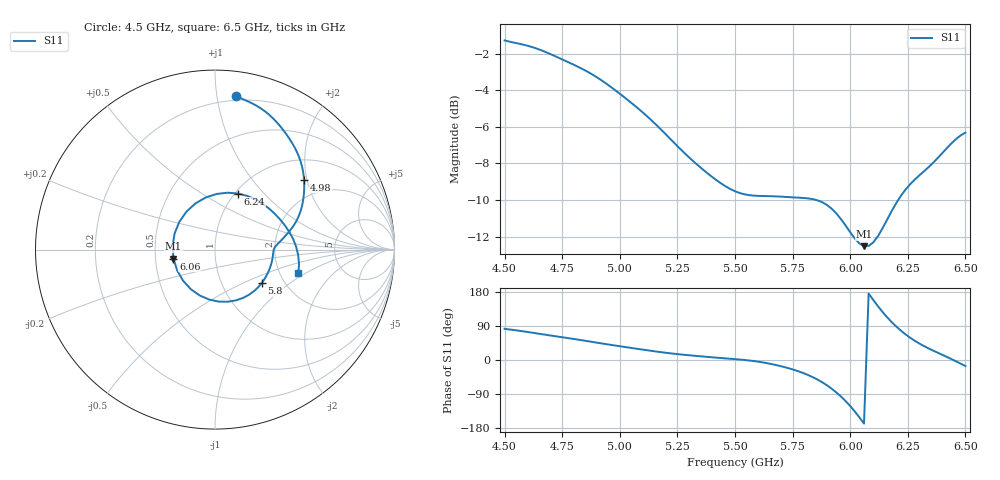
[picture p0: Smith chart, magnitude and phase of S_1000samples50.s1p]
! TOUCHSTONE file generated by CST MICROWAVE STUDIO
! Date and time: Wed Oct 26 19:57:11 2022
! Project name: L.cst
! Parameters = {Di=1.27; Epsilon_r=1.56; InnerDiameter=1.27; Length=2; Lf=10; Lg=60; OuterConductorThickness=0.2921; OuterDiameter=3.6; Wf=3; Wp=41.2; de=1.5; df=6.8; g=0.8; gx=1.2209; gy=3.4054; h=2.34; hf=1.524; px=11.6551; py=11.9087; w=9.7; wx=10.4342; wy=8.50332}
! Header version: 2018
! Port assignment regex: !\s*Touchstone port\s*([0-9]+)\s*=\s*(CST MWS port|CST DS port)\s*([0-9]+|Zmin|Zmax)\s*\(\"(.*)\"\)(\s*mode\s*([0-9]+))?.*
! Touchstone port assignment:
! Touchstone port 1 = CST MWS port 1 ("")
# GHz S DB R 50
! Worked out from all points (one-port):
!   101 points, 4.5 GHz to 6.5 GHz, reference 50 ohm
!   lowest |S11| = -12.5 dB at 6.06 GHz (marker M1), VSWR 1.62, Z = 31.1 - j3.3 ohm
!   |S11| at or under -10 dB: 5.853 GHz to 6.208 GHz (355.6 MHz wide, 5.9 % of centre)
!   S11 on the Smith chart (normalised r, x): 4.5 GHz: 0.17, +1.13; 4.98 GHz: 1.48, +1.92; 5.8 GHz: 1.55, -0.64; 6.06 GHz: 0.62, -0.07; 6.24 GHz: 1.03, +0.73; 6.5 GHz: 2.52, -0.87
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4.5  -1.28 82.3
4.62  -1.65 72.0
4.76  -2.38 59.1
4.88  -3.14 47.8
4.98  -4.00 38.2
5  -4.19 36.3
5.12  -5.44 25.6
5.26  -7.18 14.9
5.5  -9.52 2.3
5.62  -9.78 -6.3
5.76  -9.86 -26.7
5.8  -9.89 -35.3
5.86  -10.02 -52.3
5.92  -10.48 -76.0
5.96  -11.04 -96.4
6  -11.76 -121.5
6.04  -12.37 -151.4
6.06  -12.52 -167.8
6.1  -12.32 158.5
6.12  -11.98 142.3
6.16  -11.08 113.0
6.2  -10.16 88.3
6.24  -9.43 67.7
6.26  -9.14 58.9
6.32  -8.43 36.9
6.4  -7.43 13.6
6.46  -6.66 -3.7
6.5  -6.32 -15.8
